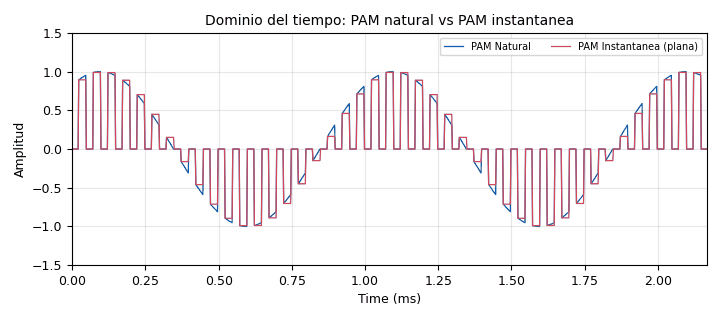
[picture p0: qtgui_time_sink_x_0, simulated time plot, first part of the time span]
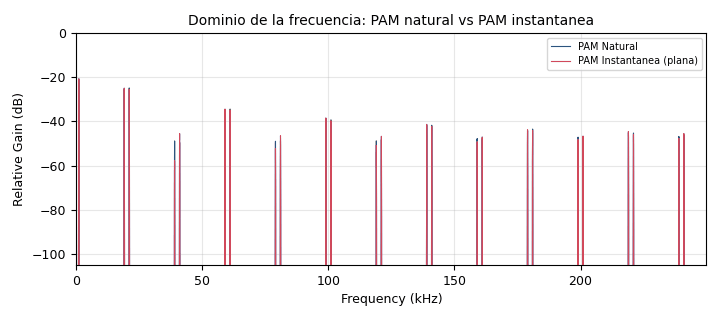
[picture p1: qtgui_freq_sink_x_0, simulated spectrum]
options:
  parameters:
    author: CIT2111 - Comunicaciones Digitales
    description: Laboratorio 1 - Actividad Previa
    generate_options: qt_gui
    id: lab1_entregable
    output_language: python
    title: Lab 1 - Muestreo natural vs muestreo instantaneo plano
  states: {}

blocks:
- name: samp_rate
  id: variable
  parameters:
    comment: Frecuencia de muestreo de GNURadio [Hz]
    value: 500e3
  states: {}
- name: f_sin
  id: variable
  parameters:
    comment: Frecuencia senal sinusoidal [Hz]
    value: 1e3
  states: {}
- name: f_cuadrada
  id: variable
  parameters:
    comment: Frecuencia senal cuadrada [Hz]
    value: 20e3
  states: {}
- name: A
  id: variable
  parameters:
    comment: Amplitud senal sinusoidal
    value: '1'
  states: {}
- name: analog_sig_source_x_0
  id: analog_sig_source_x
  parameters:
    amp: A
    comment: Senal sinusoidal de 1 kHz
    freq: f_sin
    offset: '0'
    phase: '0'
    samp_rate: samp_rate
    type: float
    waveform: analog.GR_COS_WAVE
  states: {}
- name: analog_sig_source_x_1
  id: analog_sig_source_x
  parameters:
    amp: '1'
    comment: Senal cuadrada de 20 kHz (0 / 1)
    freq: f_cuadrada
    offset: '0'
    phase: '0'
    samp_rate: samp_rate
    type: float
    waveform: analog.GR_SQR_WAVE
  states: {}
- name: blocks_throttle_0
  id: blocks_throttle
  parameters:
    comment: Limita la velocidad de simulacion
    samples_per_second: samp_rate
    type: float
  states: {}
- name: blocks_multiply_xx_0
  id: blocks_multiply_xx
  parameters:
    comment: MUESTREO NATURAL
    type: float
  states: {}
- name: epy_block_0
  id: epy_block
  parameters:
    _source_code: |
      import numpy as np
      from gnuradio import gr


      class blk(gr.sync_block):
          """
          Muestreo Instantaneo Plano (Sample & Hold con retorno a cero).

          Entrada 0 : senal analogica (sinusoide de 1 kHz).
          Entrada 1 : senal cuadrada de control (20 kHz, niveles 0 / 1).
          Salida  0 : senal PAM plana (figura 2.a de la guia).

          En cada flanco de subida de la senal cuadrada se toma UNA muestra de
          la senal analogica y ese valor se mantiene constante (plano) mientras
          el pulso este en alto. Cuando el pulso vuelve a cero, la salida
          tambien vuelve a cero (PAM instantanea con retorno a cero).
          """

          def __init__(self):
              gr.sync_block.__init__(
                  self,
                  name='Muestreo Instantaneo Plano',
                  in_sig=[np.float32, np.float32],
                  out_sig=[np.float32]
              )
              # Umbral para decidir si el pulso de control esta en alto
              self.umbral = 0.5
              # Memoria entre llamadas a work(): estado del control y valor retenido
              self.ctrl_prev = False
              self.valor_retenido = 0.0

          def work(self, input_items, output_items):
              in_data = input_items[0]   # senal sinusoidal
              in_ctrl = input_items[1]   # senal cuadrada
              out = output_items[0]
              n = len(out)

              # 1) Pulso en alto (True) o en bajo (False)
              activo = in_ctrl[:n] > self.umbral

              # 2) Deteccion de flanco de subida: alto ahora y bajo en la muestra anterior
              anterior = np.concatenate(([self.ctrl_prev], activo[:-1]))
              flancos = activo & ~anterior

              # 3) Para cada muestra, indice del ultimo flanco de subida ocurrido
              idx = np.maximum.accumulate(np.where(flancos, np.arange(n), -1))

              # 4) Valor retenido: el de la senal en ese flanco (o el que venia del
              #    bloque de datos anterior si todavia no ha ocurrido ningun flanco)
              valores = np.where(idx >= 0,
                                 in_data[np.maximum(idx, 0)],
                                 self.valor_retenido)

              # 5) Plano mientras el pulso este alto, cero cuando el pulso baja
              out[:] = np.where(activo, valores, 0.0)

              # 6) Guardar estado para la siguiente llamada a work()
              self.valor_retenido = float(valores[-1])
              self.ctrl_prev = bool(activo[-1])

              return len(out)
    comment: MUESTREO INSTANTANEO (PAM plana)
  states: {}
- name: qtgui_time_sink_x_0
  id: qtgui_time_sink_x
  parameters:
    grid: 'True'
    name: '"Dominio del tiempo: PAM natural vs PAM instantanea"'
    nconnections: '2'
    size: '2048'
    srate: samp_rate
    type: float
    ylabel: Amplitud
    ymax: '1.5'
    ymin: '-1.5'
    label1: PAM Natural
    label2: PAM Instantanea (plana)
  states: {}
- name: qtgui_freq_sink_x_0
  id: qtgui_freq_sink_x
  parameters:
    bw: samp_rate
    fc: '0'
    fftsize: '16384'
    freqhalf: 'False'
    grid: 'True'
    name: '"Dominio de la frecuencia: PAM natural vs PAM instantanea"'
    nconnections: '2'
    type: float
    ymax: '0'
    ymin: '-105'
    label1: PAM Natural
    label2: PAM Instantanea (plana)
  states: {}

connections:
- [analog_sig_source_x_0, '0', blocks_multiply_xx_0, '0']
- [analog_sig_source_x_0, '0', epy_block_0, '0']
- [analog_sig_source_x_1, '0', blocks_throttle_0, '0']
- [blocks_throttle_0, '0', blocks_multiply_xx_0, '1']
- [blocks_throttle_0, '0', epy_block_0, '1']
- [blocks_multiply_xx_0, '0', qtgui_time_sink_x_0, '0']
- [blocks_multiply_xx_0, '0', qtgui_freq_sink_x_0, '0']
- [epy_block_0, '0', qtgui_time_sink_x_0, '1']
- [epy_block_0, '0', qtgui_freq_sink_x_0, '1']

metadata:
  file_format: 1
  grc_version: 3.10.9.2
